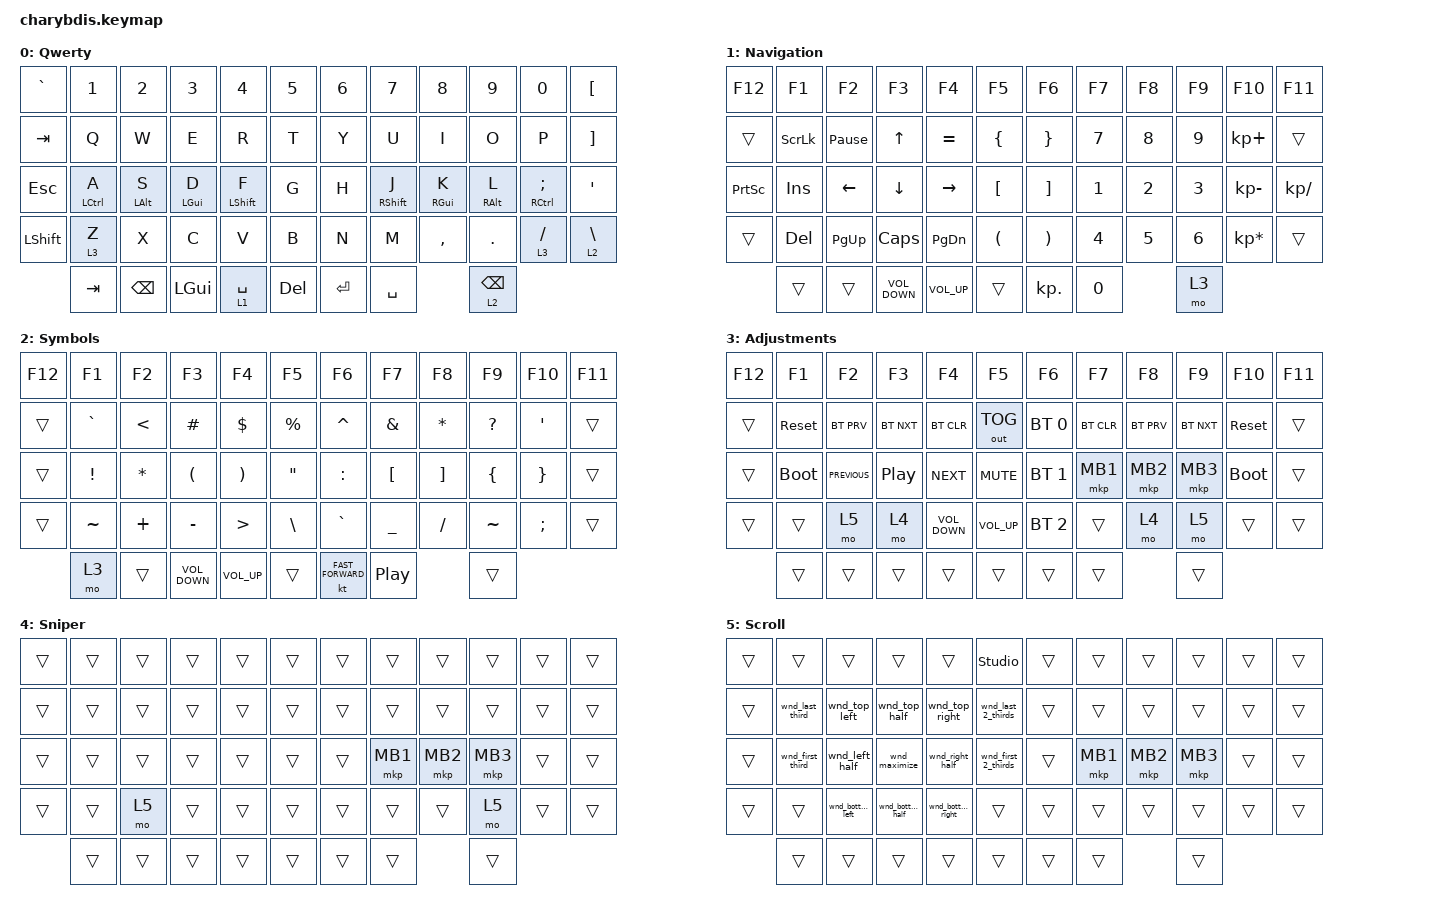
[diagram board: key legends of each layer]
#include <dt-bindings/zmk/mouse.h>
#include <behaviors/mouse_keys.dtsi>
#include <behaviors.dtsi>
#include <dt-bindings/zmk/bt.h>
#include <dt-bindings/zmk/keys.h>
#include <dt-bindings/zmk/outputs.h>
#include <dt-bindings/zmk/pointing.h>

/ {
    chosen { zmk,matrix_transform = &default_transform; };
};

&mt {
    quick-tap-ms = <100>;
    global-quick-tap;
    flavor = "tap-preferred";
    tapping-term-ms = <170>;
};

&lt {
    quick-tap-ms = <150>;
    flavor = "balanced";
    tapping-term-ms = <240>;
};

/ {
    combos {
        compatible = "zmk,combos";

        combo_esc {
            timeout-ms = <50>;
            key-positions = <0 1>;
            bindings = <&kp ESC>;
        };

        LeftClickRight {
            bindings = <&mkp LCLK>;
            key-positions = <43 44>;
        };

        RightClickRight {
            bindings = <&mkp RCLK>;
            key-positions = <44 45>;
        };
    };

    macros {
        wnd_left_half: wnd_left_half {
            compatible = "zmk,behavior-macro";
            #binding-cells = <0>;
            bindings = <&kp LA(LC(LEFT_ARROW))>;
            label = "WND_LEFT_HALF";
        };

        wnd_right_half: wnd_right_half {
            compatible = "zmk,behavior-macro";
            #binding-cells = <0>;
            bindings = <&kp LA(LC(RIGHT))>;
            label = "WND_RIGHT_HALF";
        };

        wnd_top_half: wnd_top_half {
            compatible = "zmk,behavior-macro";
            #binding-cells = <0>;
            bindings = <&kp LA(LC(UP_ARROW))>;
            label = "WND_TOP_HALF";
        };

        wnd_bottom_half: wnd_bottom_half {
            compatible = "zmk,behavior-macro";
            #binding-cells = <0>;
            bindings = <&kp LA(LC(DOWN))>;
            label = "WND_BOTTOM_HALF";
        };

        wnd_top_left: wnd_top_left {
            compatible = "zmk,behavior-macro";
            #binding-cells = <0>;
            bindings = <&kp LA(LC(U))>;
            label = "WND_TOP_LEFT";
        };

        wnd_top_right: wnd_top_right {
            compatible = "zmk,behavior-macro";
            #binding-cells = <0>;
            bindings = <&kp LA(LC(I))>;
            label = "WND_TOP_RIGHT";
        };

        wnd_bottom_left: wnd_bottom_left {
            compatible = "zmk,behavior-macro";
            #binding-cells = <0>;
            bindings = <&kp LA(LC(J))>;
            label = "WND_BOTTOM_LEFT";
        };

        wnd_bottom_right: wnd_bottom_right {
            compatible = "zmk,behavior-macro";
            #binding-cells = <0>;
            bindings = <&kp LA(LC(K))>;
            label = "WND_BOTTOM_RIGHT";
        };

        wnd_maximize: wnd_maximize {
            compatible = "zmk,behavior-macro";
            #binding-cells = <0>;
            bindings = <&kp LA(LC(ENTER))>;
            label = "WND_MAXIMIZE";
        };

        wnd_first_third: wnd_first_third {
            compatible = "zmk,behavior-macro";
            #binding-cells = <0>;
            bindings = <&kp LA(LC(D))>;
            label = "WND_FIRST_THIRD";
        };

        wnd_last_third: wnd_last_third {
            compatible = "zmk,behavior-macro";
            #binding-cells = <0>;
            bindings = <&kp LA(LC(G))>;
            label = "WND_LAST_THIRD";
        };

        wnd_first_2_thirds: wnd_first_2_thirds {
            compatible = "zmk,behavior-macro";
            #binding-cells = <0>;
            bindings = <&kp LA(LC(E))>;
            label = "WND_FIRST_2_THIRDS";
        };

        wnd_last_2_thirds: wnd_last_2_thirds {
            compatible = "zmk,behavior-macro";
            #binding-cells = <0>;
            bindings = <&kp LA(LC(T))>;
            label = "WND_LAST_2_THIRDS";
        };

        change_lang: change_lang {
            compatible = "zmk,behavior-macro";
            #binding-cells = <0>;
            bindings = <&kp LG(SPACE)>;
            label = "CHANGE_LANG";
        };
    };

    behaviors {
        hm: hm {
            compatible = "zmk,behavior-hold-tap";
            label = "HM";
            bindings = <&kp>, <&kp>;

            #binding-cells = <2>;
            tapping-term-ms = <200>;
            quick-tap-ms = <125>;
            flavor = "tap-preferred";
        };
    };

    keymap {
        compatible = "zmk,keymap";

        Qwerty {
            bindings = <
&kp GRAVE   &kp N1       &kp N2         &kp N3      &kp N4        &kp N5   &kp N6            &kp N7        &kp N8      &kp N9           &kp N0          &kp LEFT_BRACKET
&kp TAB     &kp Q        &kp W          &kp E       &kp R         &kp T               &kp Y  &kp U         &kp I       &kp O            &kp P           &kp RIGHT_BRACKET
&kp ESC     &hm LCTRL A  &hm LALT S     &hm LGUI D  &hm LSHIFT F  &kp G               &kp H  &hm RSHIFT J  &hm RGUI K  &hm RALT L       &hm RCTRL SEMI  &kp APOS
&kp LSHIFT  &lt 3 Z      &kp X          &kp C       &kp V         &kp B               &kp N  &kp M         &kp COMMA   &kp DOT          &lt 3 SLASH     &lt 2 BACKSLASH
            &kp TAB      &kp BACKSPACE  &kp LGUI    &lt 1 SPACE   &kp DEL  &kp ENTER         &kp SPACE                 &lt 2 BACKSPACE
            >;
        };

        Navigation {
            bindings = <
&kp F12          &kp F1          &kp F2           &kp F3             &kp F4           &kp F5    &kp F6                &kp F7        &kp F8        &kp F9        &kp F10          &kp F11
&trans           &kp SCROLLLOCK  &kp PAUSE_BREAK  &kp UP             &kp EQUAL        &kp LBRC              &kp RBRC  &kp N7        &kp N8        &kp N9        &kp KP_PLUS      &trans
&kp PRINTSCREEN  &kp INSERT      &kp LEFT         &kp DOWN           &kp RIGHT        &kp LBKT              &kp RBKT  &kp NUMBER_1  &kp NUMBER_2  &kp NUMBER_3  &kp KP_MINUS     &kp KP_DIVIDE
&trans           &kp DEL         &kp PG_UP        &kp CAPS           &kp PG_DN        &kp LPAR              &kp RPAR  &kp NUMBER_4  &kp NUMBER_5  &kp NUMBER_6  &kp KP_MULTIPLY  &trans
                 &trans          &trans           &kp C_VOLUME_DOWN  &kp C_VOLUME_UP  &trans    &kp KP_DOT            &kp N0                      &mo 3
            >;
        };

        Symbols {
            bindings = <
&kp F12  &kp F1           &kp F2         &kp F3             &kp F4            &kp F5         &kp F6                         &kp F7            &kp F8     &kp F9        &kp F10        &kp F11
&trans   &kp GRAVE        &kp LESS_THAN  &kp HASH           &kp DLLR          &kp PRCNT                          &kp CARET  &kp AMPS          &kp STAR   &kp QUESTION  &kp SQT        &trans
&trans   &kp EXCLAMATION  &kp ASTERISK   &kp LPAR           &kp RPAR          &kp DQT                            &kp COLON  &kp LBKT          &kp RBKT   &kp LBRC      &kp RBRC       &trans
&trans   &kp TILDE        &kp PLUS       &kp MINUS          &kp GREATER_THAN  &kp BACKSLASH                      &kp GRAVE  &kp UNDERSCORE    &kp SLASH  &kp TILDE     &kp SEMICOLON  &trans
         &mo 3            &trans         &kp C_VOLUME_DOWN  &kp C_VOLUME_UP   &trans         &kt C_FAST_FORWARD             &kp C_PLAY_PAUSE             &trans
            >;
        };

        Adjustments {
            bindings = <
&kp F12  &kp F1       &kp F2          &kp F3            &kp F4             &kp F5           &kp F6                &kp F7      &kp F8      &kp F9      &kp F10      &kp F11
&trans   &sys_reset   &bt BT_PRV      &bt BT_NXT        &bt BT_CLR         &out OUT_TOG             &bt BT_SEL 0  &bt BT_CLR  &bt BT_PRV  &bt BT_NXT  &sys_reset   &trans
&trans   &bootloader  &kp C_PREVIOUS  &kp C_PLAY_PAUSE  &kp C_NEXT         &kp C_MUTE               &bt BT_SEL 1  &mkp MB1    &mkp MB2    &mkp MB3    &bootloader  &trans
&trans   &trans       &mo 5           &mo 4             &kp C_VOLUME_DOWN  &kp C_VOLUME_UP          &bt BT_SEL 2  &trans      &mo 4       &mo 5       &trans       &trans
         &trans       &trans          &trans            &trans             &trans           &trans                &trans                  &trans
            >;
        };

        Sniper {
            bindings = <
&trans  &trans  &trans  &trans  &trans  &trans  &trans          &trans    &trans    &trans    &trans  &trans
&trans  &trans  &trans  &trans  &trans  &trans          &trans  &trans    &trans    &trans    &trans  &trans
&trans  &trans  &trans  &trans  &trans  &trans          &trans  &mkp MB1  &mkp MB2  &mkp MB3  &trans  &trans
&trans  &trans  &mo 5   &trans  &trans  &trans          &trans  &trans    &trans    &mo 5     &trans  &trans
        &trans  &trans  &trans  &trans  &trans  &trans          &trans              &trans
            >;
        };

        Scroll {
            bindings = <
&trans  &trans            &trans            &trans            &trans             &studio_unlock       &trans          &trans    &trans    &trans    &trans  &trans
&trans  &wnd_last_third   &wnd_top_left     &wnd_top_half     &wnd_top_right     &wnd_last_2_thirds           &trans  &trans    &trans    &trans    &trans  &trans
&trans  &wnd_first_third  &wnd_left_half    &wnd_maximize     &wnd_right_half    &wnd_first_2_thirds          &trans  &mkp MB1  &mkp MB2  &mkp MB3  &trans  &trans
&trans  &trans            &wnd_bottom_left  &wnd_bottom_half  &wnd_bottom_right  &trans                       &trans  &trans    &trans    &trans    &trans  &trans
        &trans            &trans            &trans            &trans             &trans               &trans          &trans              &trans
            >;
        };
    };
};
